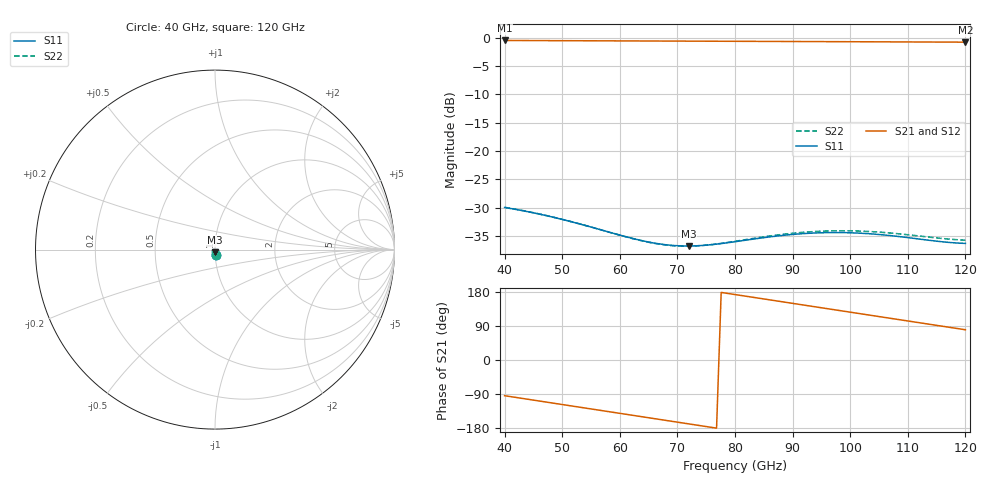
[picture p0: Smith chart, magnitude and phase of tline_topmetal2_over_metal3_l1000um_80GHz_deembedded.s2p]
! Created with skrf 2.2.0 (http://scikit-rf.org).
# GHz S DB R 50.0
! Port[1] = P1
! Port[2] = P2
!freq dBS11 angS11 dBS21 angS21 dBS12 angS12 dBS22 angS22
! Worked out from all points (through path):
!   101 points, 40 GHz to 120 GHz, reference 50 ohm
!   highest |S21| = -0.47 dB at 40 GHz (marker M1); lowest = -0.8 dB at 120 GHz (marker M2)
!   group delay of S21, straight-line fit = 6.46 ps
!   lowest |S11| = -36.8 dB at 72 GHz (marker M3), VSWR 1.03, Z = 49.9 - j1.45 ohm
!   |S11| at or under -10 dB: start of sweep to end of sweep
!   |S22| runs from -36.8 to -29.9 dB; largest |S21 - S12| = 1.1e-14
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40  -29.98 -80.8  -0.47 -94.2  -0.47 -94.2  -29.95 -80.9
43.2  -30.56 -86.8  -0.48 -101.7  -0.48 -101.7  -30.53 -86.9
46.4  -31.23 -92.2  -0.50 -109.1  -0.50 -109.1  -31.20 -92.3
49.6  -31.99 -96.7  -0.51 -116.6  -0.51 -116.6  -31.96 -96.8
53.6  -33.04 -100.9  -0.52 -125.9  -0.52 -125.9  -33.03 -101.0
57.6  -34.17 -103.1  -0.54 -135.2  -0.54 -135.2  -34.18 -103.1
60.8  -35.07 -103.0  -0.55 -142.6  -0.55 -142.6  -35.09 -103.0
67.2  -36.46 -97.9  -0.57 -157.5  -0.57 -157.5  -36.50 -97.4
72  -36.78 -91.5  -0.59 -168.7  -0.59 -168.7  -36.81 -90.5
76  -36.54 -87.0  -0.60 -178.0  -0.60 -178.0  -36.52 -85.6
80  -36.02 -84.5  -0.62 172.7  -0.62 172.7  -35.95 -82.9
83.2  -35.56 -84.0  -0.63 165.3  -0.63 165.3  -35.44 -82.3
86.4  -35.13 -84.6  -0.64 157.8  -0.64 157.8  -34.96 -82.9
89.6  -34.78 -86.1  -0.65 150.4  -0.65 150.4  -34.57 -84.4
93.6  -34.50 -88.7  -0.67 141.1  -0.67 141.1  -34.24 -87.1
97.6  -34.40 -91.7  -0.68 131.8  -0.68 131.8  -34.09 -90.1
100.8  -34.47 -93.9  -0.70 124.4  -0.70 124.4  -34.12 -92.4
107.2  -34.97 -97.0  -0.72 109.5  -0.72 109.5  -34.51 -95.8
110.4  -35.35 -97.2  -0.73 102.1  -0.73 102.1  -34.84 -96.3
113.6  -35.76 -96.2  -0.75 94.7  -0.75 94.7  -35.20 -95.7
116.8  -36.12 -93.7  -0.76 87.2  -0.76 87.2  -35.53 -93.9
120  -36.32 -89.9  -0.77 79.8  -0.77 79.8  -35.75 -90.8
